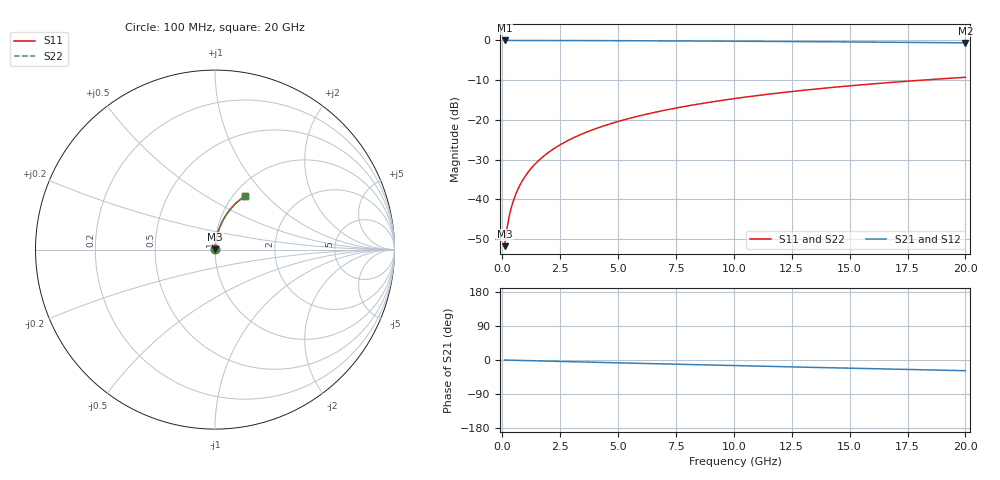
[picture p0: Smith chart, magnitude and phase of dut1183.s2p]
! Touchstone file exported from HFSS 2026.1.0
!  File:  C:/ffzhzh/LocalFiles/Ansys_Project_Files/temp_train_TMRDL_1183_1783162657_51560.aedt
!  Generated:  06:58:56 PM Jul  4, 2026
!  Design:  TMRDL
!  Project:  temp_train_TMRDL_1183_1783162657_51560
! Variables:
!  h_bsmrdl = 2um
!  h_ox = 20um
!  h_rdl = 5um
!  h_sub = 80um
!  h_tmrdl = 5.84um
!  h_tsv = 80um
!  h_via = 3um
!  l_bsmrdl = 300um
!  l_sub = 726.55um
!  l_tmrdl = 326.55um
!  m_sub = 200um
!  pitch = 57.33um
!  r_tsv = 6um
!  s_tmrdl = 10um
!  w_bsmrdl = 18um
!  w_sub = 500um
!  w_tmrdl = 12.85um
!  x_tsv_center1 = 332.975um
!  x_tsv_center2 = 650.975um
!  x_tsv_center3 = 990.375um
!  x_tsv_center4 = 1308.375um
!  x_tsv_center5 = 1647.775um
!  x_tsv_center6 = 1965.775um
# GHz S MA R 50.000000
! Terminal data exported
! Port[1] = TM_RDL1_1_T1
! Port[2] = TM_RDL1_1_T2
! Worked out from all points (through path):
!   200 points, 100 MHz to 20 GHz, reference 50 ohm
!   highest |S21| = -0.01 dB at 100 MHz (marker M1); lowest = -0.6 dB at 20 GHz (marker M2)
!   group delay of S21, straight-line fit = 3.92 ps
!   lowest |S11| = -51.8 dB at 100 MHz (marker M3), VSWR 1.01, Z = 50.2 + j0.201 ohm
!   |S11| at or under -10 dB: start of sweep to 18.13 GHz
!   |S22| runs from -51.8 to -9.3 dB; largest |S21 - S12| = 2.3e-15
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0.1  0.002577 50.9  0.9984 -0.2  0.9984 -0.2  0.002577 50.9
! Gamma 0 0 0 0
! Port Impedance 50 0 50 0
0.2  0.004298 67.8  0.9983 -0.3  0.9983 -0.3  0.004297 67.8
0.3  0.006168 74.6  0.9983 -0.5  0.9983 -0.5  0.006166 74.6
0.4  0.008082 78.0  0.9982 -0.6  0.9982 -0.6  0.00808 78.0
0.5  0.01001 80.0  0.9982 -0.8  0.9982 -0.8  0.01001 80.0
0.7  0.0139 82.1  0.9981 -1.1  0.9981 -1.1  0.0139 82.1
0.8  0.01585 82.7  0.998 -1.2  0.998 -1.2  0.01585 82.7
1  0.01975 83.4  0.9979 -1.5  0.9979 -1.5  0.01974 83.4
1.2  0.02363 83.7  0.9977 -1.8  0.9977 -1.8  0.02363 83.7
1.4  0.02751 83.9  0.9976 -2.1  0.9976 -2.1  0.02751 83.9
1.7  0.03331 83.9  0.9973 -2.6  0.9973 -2.6  0.03331 83.9
2  0.03908 83.7  0.997 -3.0  0.997 -3.0  0.03908 83.7
2.7  0.05244 83.1  0.996 -4.1  0.996 -4.1  0.05243 83.1
3.5  0.06754 82.2  0.9947 -5.3  0.9947 -5.3  0.06754 82.2
4.2  0.08063 81.3  0.9934 -6.3  0.9934 -6.3  0.08063 81.3
5  0.09545 80.3  0.9917 -7.5  0.9917 -7.5  0.09545 80.3
6.8  0.1283 77.9  0.9873 -10.1  0.9873 -10.1  0.1283 77.9
8.3  0.1551 75.9  0.9829 -12.3  0.9829 -12.3  0.1551 75.9
10.1  0.1866 73.5  0.9769 -14.8  0.9769 -14.8  0.1866 73.5
13.4  0.2422 69.1  0.964 -19.4  0.964 -19.4  0.2422 69.1
16.7  0.2946 64.8  0.9488 -23.9  0.9488 -23.9  0.2946 64.8
20  0.3434 60.6  0.9319 -28.2  0.9319 -28.2  0.3434 60.5
